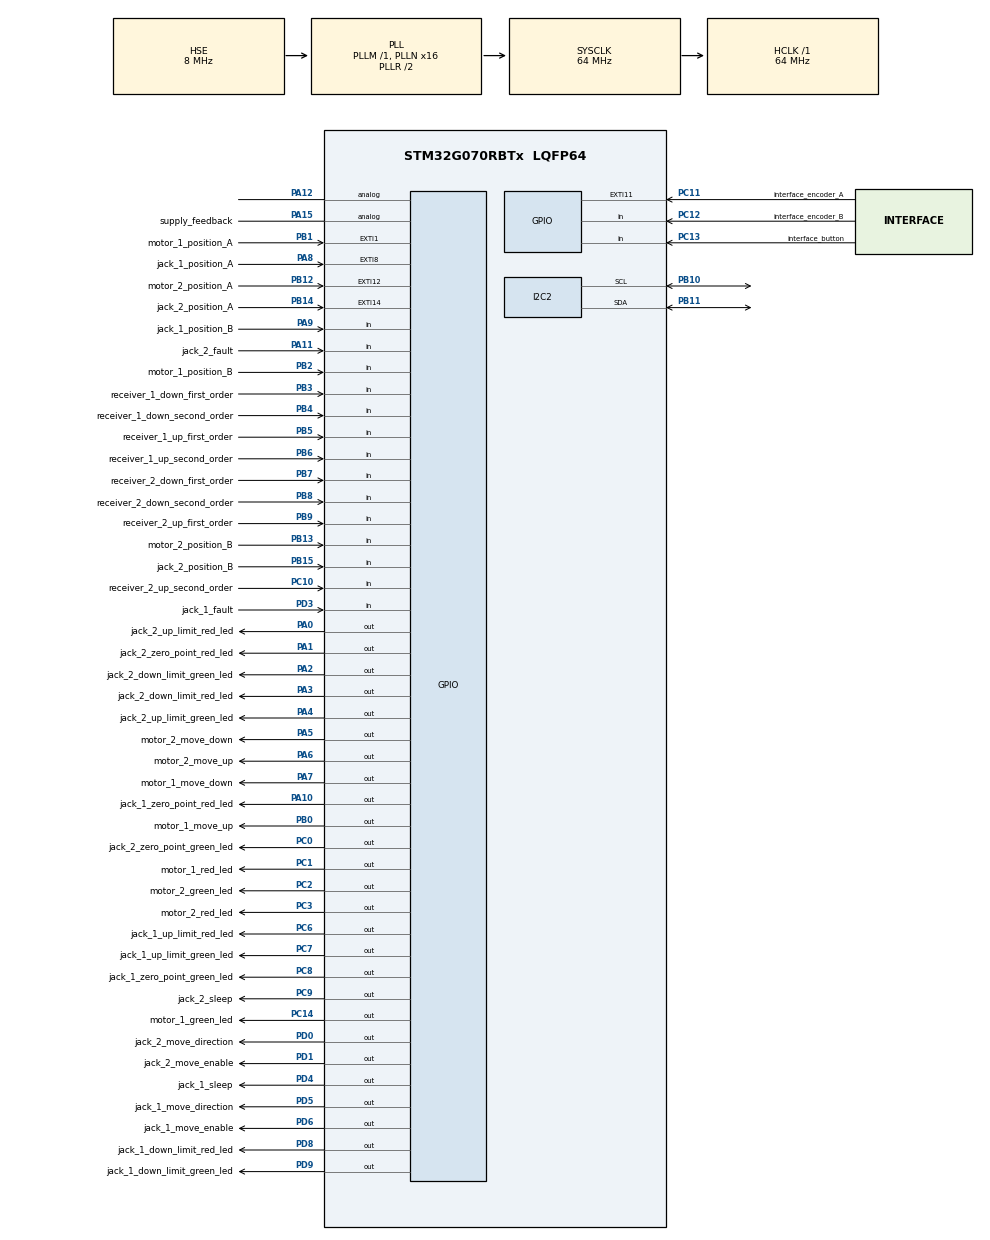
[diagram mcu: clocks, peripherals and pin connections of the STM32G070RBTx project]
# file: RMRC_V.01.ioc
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I2C2.Timing=0x10B17DB5
Mcu.Family=STM32G0
Mcu.Name=STM32G070RBTx
Mcu.Package=LQFP64
NVIC.I2C2_IRQn=true\:0\:0\:false\:false\:true\:true\:true\:true
PA0.GPIO_Label=jack_2_up_limit_red_led
PA0.Signal=GPIO_Output
PA1.GPIO_Label=jack_2_zero_point_red_led
PA1.Signal=GPIO_Output
PA10.GPIO_Label=jack_1_zero_point_red_led
PA10.Signal=GPIO_Output
PA11\ [PA9].GPIO_Label=jack_2_fault
PA11\ [PA9].Signal=GPIO_Input
PA12\ [PA10].Signal=GPIO_Analog
PA13.Mode=Serial_Wire
PA13.Signal=SYS_SWDIO
PA14-BOOT0.Mode=Serial_Wire
PA14-BOOT0.Signal=SYS_SWCLK
PA15.GPIO_Label=supply_feedback
PA15.Signal=GPIO_Analog
PA2.GPIO_Label=jack_2_down_limit_green_led
PA2.Signal=GPIO_Output
PA3.GPIO_Label=jack_2_down_limit_red_led
PA3.Signal=GPIO_Output
PA4.GPIO_Label=jack_2_up_limit_green_led
PA4.Signal=GPIO_Output
PA5.GPIO_Label=motor_2_move_down
PA5.Signal=GPIO_Output
PA6.GPIO_Label=motor_2_move_up
PA6.Signal=GPIO_Output
PA7.GPIO_Label=motor_1_move_down
PA7.Signal=GPIO_Output
PA8.GPIO_Label=jack_1_position_A
PA8.Signal=GPXTI8
PA9.GPIO_Label=jack_1_position_B
PA9.Signal=GPIO_Input
PB0.GPIO_Label=motor_1_move_up
PB0.Signal=GPIO_Output
PB1.GPIO_Label=motor_1_position_A
PB1.Signal=GPXTI1
PB10.Mode=I2C
PB10.Signal=I2C2_SCL
PB11.Mode=I2C
PB11.Signal=I2C2_SDA
PB12.GPIO_Label=motor_2_position_A
PB12.Signal=GPXTI12
PB13.GPIO_Label=motor_2_position_B
PB13.Signal=GPIO_Input
PB14.GPIO_Label=jack_2_position_A
PB14.Signal=GPXTI14
PB15.GPIO_Label=jack_2_position_B
PB15.Signal=GPIO_Input
PB2.GPIO_Label=motor_1_position_B
PB2.Signal=GPIO_Input
PB3.GPIO_Label=receiver_1_down_first_order
PB3.Signal=GPIO_Input
PB4.GPIO_Label=receiver_1_down_second_order
PB4.Signal=GPIO_Input
PB5.GPIO_Label=receiver_1_up_first_order
PB5.Signal=GPIO_Input
PB6.GPIO_Label=receiver_1_up_second_order
PB6.Signal=GPIO_Input
PB7.GPIO_Label=receiver_2_down_first_order
PB7.Signal=GPIO_Input
PB8.GPIO_Label=receiver_2_down_second_order
PB8.Signal=GPIO_Input
PB9.GPIO_Label=receiver_2_up_first_order
PB9.Signal=GPIO_Input
PC0.GPIO_Label=jack_2_zero_point_green_led
PC0.Signal=GPIO_Output
PC1.GPIO_Label=motor_1_red_led
PC1.Signal=GPIO_Output
PC10.GPIO_Label=receiver_2_up_second_order
PC10.Signal=GPIO_Input
PC11.GPIO_Label=interface_encoder_A
PC11.Signal=GPXTI11
PC12.GPIO_Label=interface_encoder_B
PC12.Signal=GPIO_Input
PC13.GPIO_Label=interface_button
PC13.Signal=GPIO_Input
PC14-OSC32_IN\ (PC14).GPIO_Label=motor_1_green_led
PC14-OSC32_IN\ (PC14).Signal=GPIO_Output
PC2.GPIO_Label=motor_2_green_led
PC2.Signal=GPIO_Output
PC3.GPIO_Label=motor_2_red_led
PC3.Signal=GPIO_Output
PC6.GPIO_Label=jack_1_up_limit_red_led
PC6.Signal=GPIO_Output
PC7.GPIO_Label=jack_1_up_limit_green_led
PC7.Signal=GPIO_Output
PC8.GPIO_Label=jack_1_zero_point_green_led
PC8.Signal=GPIO_Output
PC9.GPIO_Label=jack_2_sleep
PC9.Signal=GPIO_Output
PD0.GPIO_Label=jack_2_move_direction
PD0.Signal=GPIO_Output
PD1.GPIO_Label=jack_2_move_enable
PD1.Signal=GPIO_Output
PD3.GPIO_Label=jack_1_fault
PD3.Signal=GPIO_Input
PD4.GPIO_Label=jack_1_sleep
PD4.Signal=GPIO_Output
PD5.GPIO_Label=jack_1_move_direction
PD5.Signal=GPIO_Output
PD6.GPIO_Label=jack_1_move_enable
PD6.Signal=GPIO_Output
PD8.GPIO_Label=jack_1_down_limit_red_led
PD8.Signal=GPIO_Output
PD9.GPIO_Label=jack_1_down_limit_green_led
PD9.Signal=GPIO_Output
PF0-OSC_IN\ (PF0).Mode=HSE-External-Oscillator
PF0-OSC_IN\ (PF0).Signal=RCC_OSC_IN
PF1-OSC_OUT\ (PF1).Mode=HSE-External-Oscillator
PF1-OSC_OUT\ (PF1).Signal=RCC_OSC_OUT
ProjectManager.HeapSize=0x200
ProjectManager.StackSize=0x400
ProjectManager.TargetToolchain=MDK-ARM V5
RCC.ADCFreq_Value=64000000
RCC.AHBFreq_Value=64000000
RCC.CortexFreq_Value=64000000
RCC.EXTERNAL_CLOCK_VALUE=48000
RCC.HCLKFreq_Value=64000000
RCC.HSE_VALUE=8000000
RCC.HSI_VALUE=16000000
RCC.LSE_VALUE=32768
RCC.PLLN=16
RCC.PLLP=RCC_PLLP_DIV4
RCC.PLLSourceVirtual=RCC_PLLSOURCE_HSE
RCC.SYSCLKFreq_VALUE=64000000
RCC.SYSCLKSource=RCC_SYSCLKSOURCE_PLLCLK
RCC.VCOOutputFreq_Value=128000000
TIM1.AutoReloadPreload=TIM_AUTORELOAD_PRELOAD_ENABLE
TIM1.Period=99
TIM1.Prescaler=63999
VP_TIM1_VS_ClockSourceINT.Mode=Internal
board=custom

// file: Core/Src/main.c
/* USER CODE BEGIN Header */
/**
  ******************************************************************************
  * @file           : main.c
  * @brief          : Main program body
  ******************************************************************************
  * @attention
  *
  * Copyright (c) 2026 STMicroelectronics.
  * All rights reserved.
  *
  * This software is licensed under terms that can be found in the LICENSE file
  * in the root directory of this software component.
  * If no LICENSE file comes with this software, it is provided AS-IS.
  *
  ******************************************************************************
  */
/* USER CODE END Header */
#include "main.h"
#include "i2c.h"
#include "tim.h"
#include "gpio.h"

/* USER CODE BEGIN Includes */

volatile uint32_t hundred_millis = 0;

/* USER CODE END Includes */

void SystemClock_Config(void);

/* USER CODE BEGIN 0 */
void HAL_TIM_PeriodElapsedCallback(TIM_HandleTypeDef *htim){
    if (htim->Instance == TIM1){
        hundred_millis += 1;
    }
}
void HAL_GPIO_EXTI_Callback(uint16_t GPIO_Pin)
{

		switch(GPIO_Pin){
			case jack_1_position_A_Pin:
				encoderCallback(GPIO_Pin);
			break;
			case jack_2_position_A_Pin:
				encoderCallback(GPIO_Pin);
			break;
			case motor_1_position_A_Pin:
				encoderCallback(GPIO_Pin);
			break;
			case motor_2_position_A_Pin:
				encoderCallback(GPIO_Pin);
			break;
			case interface_encoder_A_Pin:
				interfaceCallback(GPIO_Pin);
			break;
			case interface_button_Pin:
				interfaceCallback(GPIO_Pin);
			break;
			default:
			break;
		}
}

void HAL_I2C_MemTxCpltCallback(I2C_HandleTypeDef *hi2c)
{
    if(hi2c == &hi2c2) AT24_TxComplete();
}

void HAL_I2C_MemRxCpltCallback(I2C_HandleTypeDef *hi2c)
{
    if(hi2c == &hi2c2) AT24_RxComplete();
}
/* USER CODE END 0 */

int main(void)
{

  /* MCU Configuration--------------------------------------------------------*/

  /* Reset of all peripherals, Initializes the Flash interface and the Systick. */
  HAL_Init();

  /* Configure the system clock */
  SystemClock_Config();

  /* Initialize all configured peripherals */
  MX_GPIO_Init();
  MX_I2C2_Init();
  MX_TIM1_Init();
  /* USER CODE BEGIN 2 */
	interfaceInit();
	AT24Init(&hi2c2);
	jackInit();
	motorInit();
	receiverInit();

	HAL_Delay(100);

	while(AT24_ReadAll_IT() == HAL_BUSY){
		HAL_Delay(10);
	}
	while(AT24_State != 0){
		HAL_Delay(10);
	}

  /* USER CODE END 2 */

  /* Infinite loop */
  /* USER CODE BEGIN WHILE */
  while (1)
  {
		interfaceRun();
		AT24Run();
		jackRun();
		motorRun();
		receiverRun();

    /* USER CODE END WHILE */

  }
}

void SystemClock_Config(void)
{
  RCC_OscInitTypeDef RCC_OscInitStruct = {0};
  RCC_ClkInitTypeDef RCC_ClkInitStruct = {0};

  /** Configure the main internal regulator output voltage
  */
  HAL_PWREx_ControlVoltageScaling(PWR_REGULATOR_VOLTAGE_SCALE1);

  /** Initializes the RCC Oscillators according to the specified parameters
  * in the RCC_OscInitTypeDef structure.
  */
  RCC_OscInitStruct.OscillatorType = RCC_OSCILLATORTYPE_HSE;
  RCC_OscInitStruct.HSEState = RCC_HSE_ON;
  RCC_OscInitStruct.PLL.PLLState = RCC_PLL_ON;
  RCC_OscInitStruct.PLL.PLLSource = RCC_PLLSOURCE_HSE;
  RCC_OscInitStruct.PLL.PLLM = RCC_PLLM_DIV1;
  RCC_OscInitStruct.PLL.PLLN = 16;
  RCC_OscInitStruct.PLL.PLLP = RCC_PLLP_DIV4;
  RCC_OscInitStruct.PLL.PLLR = RCC_PLLR_DIV2;
  if (HAL_RCC_OscConfig(&RCC_OscInitStruct) != HAL_OK)
  {
    Error_Handler();
  }

  /** Initializes the CPU, AHB and APB buses clocks
  */
  RCC_ClkInitStruct.ClockType = RCC_CLOCKTYPE_HCLK|RCC_CLOCKTYPE_SYSCLK
                              |RCC_CLOCKTYPE_PCLK1;
  RCC_ClkInitStruct.SYSCLKSource = RCC_SYSCLKSOURCE_PLLCLK;
  RCC_ClkInitStruct.AHBCLKDivider = RCC_SYSCLK_DIV1;
  RCC_ClkInitStruct.APB1CLKDivider = RCC_HCLK_DIV1;

  if (HAL_RCC_ClockConfig(&RCC_ClkInitStruct, FLASH_LATENCY_2) != HAL_OK)
  {
    Error_Handler();
  }
}

void Error_Handler(void)
{
  __disable_irq();
  while (1)
  {
  }
}
